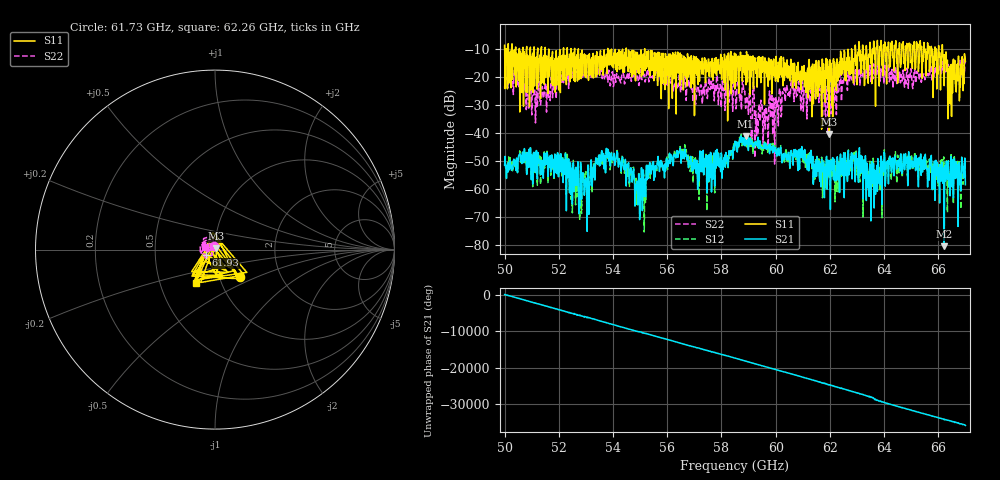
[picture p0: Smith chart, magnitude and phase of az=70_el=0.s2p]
!Created with skrf (http://scikit-rf.org).
# GHz S RI R 50.0
!freq ReS11 ImS11 ReS21 ImS21 ReS12 ImS12 ReS22 ImS22
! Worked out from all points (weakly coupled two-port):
!   1001 points, 50 GHz to 67 GHz, reference 50 ohm
!   highest |S21| = -40.92 dB at 58.89 GHz (marker M1); lowest = -80.3 dB at 66.22 GHz (marker M2)
!   lowest |S11| = -40.3 dB at 61.97 GHz (marker M3), VSWR 1.02, Z = 50.7 + j0.654 ohm
!   |S11| at or under -10 dB: 52.72 GHz to 53.81 GHz (1.086 GHz wide, 2.04 % of centre); 55.17 GHz to 62.8 GHz (7.632 GHz wide, 12.9 % of centre); 66.16 GHz to end of sweep (the widest 3 of 64)
!   |S22| runs from -51.0 to -13.4 dB; largest |S21 - S12| = 0.0021
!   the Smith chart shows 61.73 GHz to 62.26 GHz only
!   S11 on the Smith chart (normalised r, x): 61.73 GHz: 1.25, -0.40; 61.93 GHz: 0.91, -0.05; 62.26 GHz: 0.76, -0.29
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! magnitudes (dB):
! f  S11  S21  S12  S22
! 50 GHz  -8.6  -51.3  -51.6  -24.0
! 51.07 GHz  -10.7  -46.8  -47.2  -26.4
! 52.84 GHz  -12.8  -63.5  -68.6  -20.2
! 53.79 GHz  -13.7  -48.6  -48.9  -19.8
! 55 GHz  -16.5  -67.9  -61.1  -17.3
! 55.68 GHz  -13.6  -51.3  -50.1  -21.2
! 57.72 GHz  -15.3  -47.0  -49.2  -25.4
! 58.5 GHz  -24.2  -42.8  -43.4  -23.5
! 58.89 GHz  -12.3  -40.9  -42.0  -31.1
! 59.3 GHz  -14.8  -43.2  -42.5  -40.9
! 60.64 GHz  -15.1  -51.4  -50.3  -22.8
! 61.34 GHz  -34.1  -52.1  -52.6  -27.0
! 61.73 GHz  -13.8  -53.4  -63.1  -34.1
! 61.93 GHz  -24.9  -49.6  -49.7  -40.2
! 61.97 GHz  -40.3  -54.9  -55.6  -23.1
! 62.26 GHz  -13.4  -50.6  -53.1  -25.2
! 62.94 GHz  -8.5  -57.3  -56.8  -17.5
! 63.43 GHz  -11.8  -55.0  -53.8  -17.1
! 64.18 GHz  -11.9  -51.3  -48.9  -17.5
! 66.22 GHz  -23.0  -80.3  -59.2  -14.3
! 66.44 GHz  -29.5  -62.3  -59.8  -16.3
! 67 GHz  -14.4  -58.3  -56.1  -14.4
